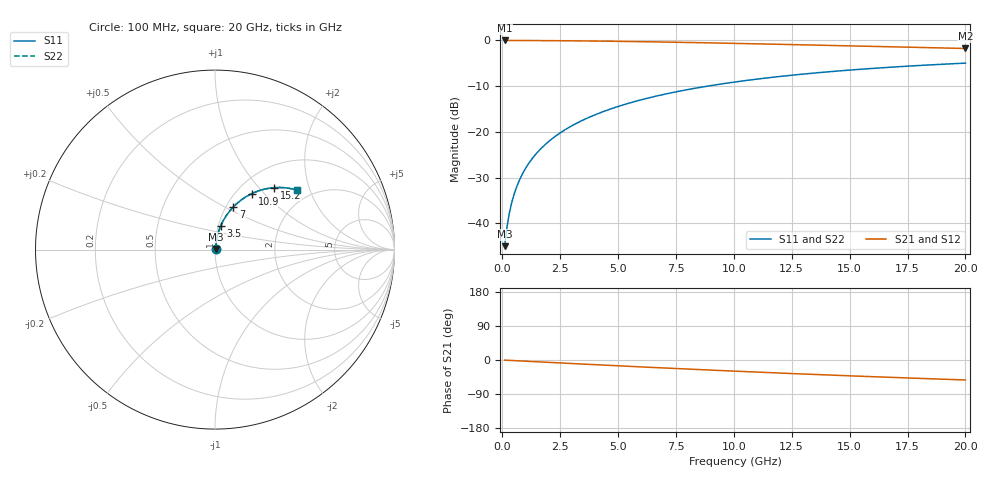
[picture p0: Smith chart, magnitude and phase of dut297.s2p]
! Touchstone file exported from HFSS 2026.1.0
!  File:  C:/ffzhzh/LocalFiles/Ansys_Project_Files/temp_train_TMRDL_297_1782985603_40604.aedt
!  Generated:  05:48:08 PM Jul  2, 2026
!  Design:  TMRDL
!  Project:  temp_train_TMRDL_297_1782985603_40604
! Variables:
!  h_bsmrdl = 2um
!  h_ox = 20um
!  h_rdl = 5um
!  h_sub = 80um
!  h_tmrdl = 4.4um
!  h_tsv = 80um
!  h_via = 3um
!  l_bsmrdl = 300um
!  l_sub = 1124.72um
!  l_tmrdl = 724.72um
!  m_sub = 200um
!  pitch = 59.71um
!  r_tsv = 6um
!  s_tmrdl = 10um
!  w_bsmrdl = 18um
!  w_sub = 500um
!  w_tmrdl = 15.33um
!  x_tsv_center1 = 732.385um
!  x_tsv_center2 = 1050.385um
!  x_tsv_center3 = 1790.435um
!  x_tsv_center4 = 2108.435um
!  x_tsv_center5 = 2848.485um
!  x_tsv_center6 = 3166.485um
# GHz S MA R 50.000000
! Terminal data exported
! Port[1] = TM_RDL1_1_T1
! Port[2] = TM_RDL1_1_T2
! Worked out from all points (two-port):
!   200 points, 100 MHz to 20 GHz, reference 50 ohm
!   highest |S21| = -0.03 dB at 100 MHz (marker M1); lowest = -1.8 dB at 20 GHz (marker M2)
!   |S21| within 3 dB of the highest: start of sweep to end of sweep
!   lowest |S11| = -45.0 dB at 100 MHz (marker M3), VSWR 1.01, Z = 50.4 + j0.41 ohm
!   |S11| at or under -10 dB: start of sweep to 8.878 GHz
!   |S22| runs from -45.0 to -5.0 dB; largest |S21 - S12| = 7.4e-15
!   S11 on the Smith chart (normalised r, x): 100 MHz: 1.01, +0.01; 3.5 GHz: 1.03, +0.27; 7 GHz: 1.08, +0.55; 10.9 GHz: 1.18, +0.86; 15.2 GHz: 1.36, +1.21; 20 GHz: 1.68, +1.63
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0.1  0.005635 46.2  0.9961 -0.3  0.9961 -0.3  0.005635 46.2
! Gamma 0 0 0 0
! Port Impedance 50 0 50 0
0.2  0.009053 63.3  0.996 -0.6  0.996 -0.6  0.009053 63.3
0.3  0.01279 70.4  0.9958 -1.0  0.9958 -1.0  0.01279 70.4
0.4  0.0166 74.1  0.9957 -1.3  0.9957 -1.3  0.0166 74.1
0.5  0.02043 76.3  0.9955 -1.6  0.9955 -1.6  0.02043 76.3
0.7  0.02812 78.7  0.9952 -2.2  0.9952 -2.2  0.02812 78.7
1  0.03971 80.2  0.9946 -3.1  0.9946 -3.1  0.03971 80.2
1.4  0.05518 80.6  0.9937 -4.4  0.9937 -4.4  0.05518 80.6
2  0.0783 80.0  0.9918 -6.2  0.9918 -6.2  0.0783 80.0
2.7  0.105 78.5  0.9888 -8.4  0.9888 -8.4  0.105 78.5
3.5  0.135 76.5  0.9846 -10.8  0.9846 -10.8  0.135 76.5
4.2  0.1606 74.6  0.9802 -12.9  0.9802 -12.9  0.1606 74.6
5  0.1893 72.4  0.9744 -15.3  0.9744 -15.3  0.1893 72.4
6.8  0.2508 67.4  0.9591 -20.5  0.9591 -20.5  0.2508 67.4
7  0.2573 66.9  0.9573 -21.1  0.9573 -21.1  0.2573 66.9
8.5  0.3048 62.8  0.9424 -25.3  0.9424 -25.3  0.3048 62.8
10.1  0.3518 58.7  0.9253 -29.6  0.9253 -29.6  0.3518 58.6
10.9  0.374 56.6  0.9164 -31.7  0.9164 -31.7  0.374 56.6
13.4  0.4372 50.5  0.8876 -38.0  0.8876 -38.0  0.4371 50.5
15.2  0.4771 46.3  0.8668 -42.2  0.8668 -42.2  0.4771 46.3
16.7  0.5071 43.0  0.8497 -45.7  0.8497 -45.7  0.5071 43.0
20  0.563 36.1  0.8142 -52.7  0.8142 -52.7  0.563 36.1
